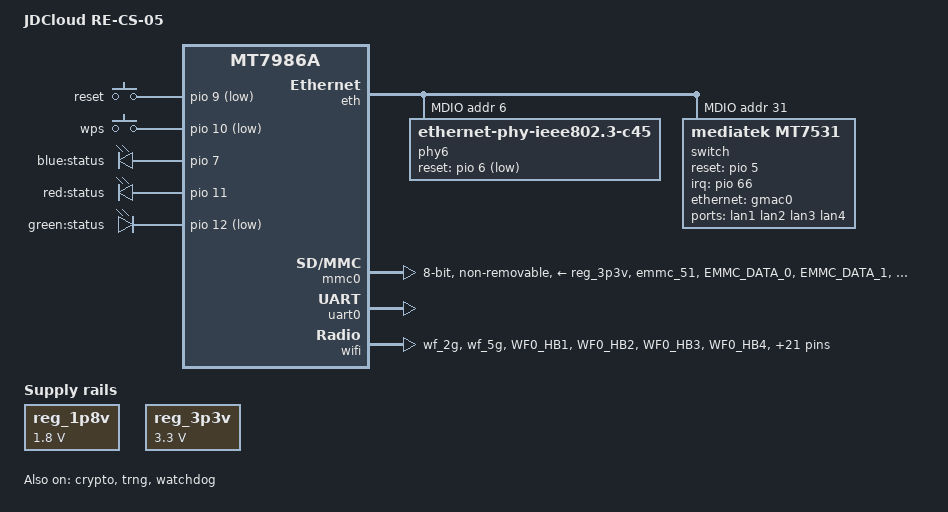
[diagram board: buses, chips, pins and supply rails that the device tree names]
// SPDX-License-Identifier: GPL-2.0-or-later OR MIT

/dts-v1/;
#include <dt-bindings/gpio/gpio.h>
#include <dt-bindings/input/input.h>

#include "mt7986a.dtsi"

/ {
	model = "JDCloud RE-CS-05";
	compatible = "jdcloud,re-cs-05", "mediatek,mt7986a";

	aliases {
		serial0 = &uart0;
		led-boot = &led_status_green;
		led-failsafe = &led_status_red;
		led-running = &led_status_blue;
		led-upgrade = &led_status_red;
	};

	chosen {
		stdout-path = "serial0:115200n8";
		bootargs = "console=ttyS0,115200n8 root=PARTLABEL=rootfs rootwait";
	};

	keys {
		compatible = "gpio-keys";

		reset {
			label = "reset";
			linux,code = <KEY_RESTART>;
			gpios = <&pio 9 GPIO_ACTIVE_LOW>;
		};

		wps {
			label = "wps";
			linux,code = <KEY_WPS_BUTTON>;
			gpios = <&pio 10 GPIO_ACTIVE_LOW>;
		};
	};

	leds {
		compatible = "gpio-leds";

		led_status_blue: blue {
			label = "blue:status";
			gpios = <&pio 7 GPIO_ACTIVE_HIGH>;
		};

		led_status_red: red {
			label = "red:status";
			gpios = <&pio 11 GPIO_ACTIVE_HIGH>;
		};

		led_status_green: green {
			label = "green:status";
			gpios = <&pio 12 GPIO_ACTIVE_LOW>;
		};
	};

	reg_1p8v: regulator-1p8v {
		compatible = "regulator-fixed";
		regulator-name = "fixed-1.8V";
		regulator-min-microvolt = <1800000>;
		regulator-max-microvolt = <1800000>;
		regulator-boot-on;
		regulator-always-on;
	};

	reg_3p3v: regulator-3p3v {
		compatible = "regulator-fixed";
		regulator-name = "fixed-3.3V";
		regulator-min-microvolt = <3300000>;
		regulator-max-microvolt = <3300000>;
		regulator-boot-on;
		regulator-always-on;
	};
};

&crypto {
	status = "okay";
};

&eth {
	status = "okay";

	gmac0: mac@0 {
		compatible = "mediatek,eth-mac";
		reg = <0>;
		phy-mode = "2500base-x";

		fixed-link {
			speed = <2500>;
			full-duplex;
			pause;
		};
	};

	gmac1: mac@1 {
		compatible = "mediatek,eth-mac";
		reg = <1>;
		phy-handle = <&phy6>;
		phy-mode = "2500base-x";
	};

	mdio: mdio-bus {
		#address-cells = <1>;
		#size-cells = <0>;
	};
};

&mdio {
	phy6: ethernet-phy@6 {
		compatible = "ethernet-phy-ieee802.3-c45";
		reg = <6>;
		reset-assert-us = <100000>;
		reset-deassert-us = <100000>;
		reset-gpios = <&pio 6 GPIO_ACTIVE_LOW>;
		realtek,aldps-enable;
	};

	switch: switch@0 {
		compatible = "mediatek,mt7531";
		reg = <31>;
		reset-gpios = <&pio 5 GPIO_ACTIVE_HIGH>;
		interrupt-controller;
		#interrupt-cells = <1>;
		interrupt-parent = <&pio>;
		interrupts = <66 IRQ_TYPE_LEVEL_HIGH>;
	};
};

&switch {
	ports {
		#address-cells = <1>;
		#size-cells = <0>;

		port@1 {
			reg = <1>;
			label = "lan1";
		};

		port@2 {
			reg = <2>;
			label = "lan2";
		};

		port@3 {
			reg = <3>;
			label = "lan3";
		};

		port@4 {
			reg = <4>;
			label = "lan4";
		};

		port@6 {
			reg = <6>;
			ethernet = <&gmac0>;
			phy-mode = "2500base-x";

			fixed-link {
				speed = <2500>;
				full-duplex;
				pause;
			};
		};
	};
};

&mmc0 {
	pinctrl-names = "default", "state_uhs";
	pinctrl-0 = <&mmc0_pins_default>;
	pinctrl-1 = <&mmc0_pins_uhs>;
	bus-width = <8>;
	cap-mmc-highspeed;
	hs400-ds-delay = <0x14014>;
	max-frequency = <200000000>;
	mmc-hs200-1_8v;
	mmc-hs400-1_8v;
	non-removable;
	vmmc-supply = <&reg_3p3v>;
	vqmmc-supply = <&reg_1p8v>;
	status = "okay";
};

&pio {
	mmc0_pins_default: mmc0-pins {
		mux {
			function = "emmc";
			groups = "emmc_51";
		};
		conf-cmd-dat {
			pins = "EMMC_DATA_0", "EMMC_DATA_1", "EMMC_DATA_2",
			       "EMMC_DATA_3", "EMMC_DATA_4", "EMMC_DATA_5",
			       "EMMC_DATA_6", "EMMC_DATA_7", "EMMC_CMD";
			input-enable;
			drive-strength = <4>;
			mediatek,pull-up-adv = <1>;	/* pull-up 10K */
		};
		conf-clk {
			pins = "EMMC_CK";
			drive-strength = <6>;
			mediatek,pull-down-adv = <2>;	/* pull-down 50K */
		};
		conf-ds {
			pins = "EMMC_DSL";
			mediatek,pull-down-adv = <2>;	/* pull-down 50K */
		};
		conf-rst {
			pins = "EMMC_RSTB";
			drive-strength = <4>;
			mediatek,pull-up-adv = <1>;	/* pull-up 10K */
		};
	};

	mmc0_pins_uhs: mmc0-uhs-pins {
		mux {
			function = "emmc";
			groups = "emmc_51";
		};
		conf-cmd-dat {
			pins = "EMMC_DATA_0", "EMMC_DATA_1", "EMMC_DATA_2",
			       "EMMC_DATA_3", "EMMC_DATA_4", "EMMC_DATA_5",
			       "EMMC_DATA_6", "EMMC_DATA_7", "EMMC_CMD";
			input-enable;
			drive-strength = <4>;
			mediatek,pull-up-adv = <1>;	/* pull-up 10K */
		};
		conf-clk {
			pins = "EMMC_CK";
			drive-strength = <6>;
			mediatek,pull-down-adv = <2>;	/* pull-down 50K */
		};
		conf-ds {
			pins = "EMMC_DSL";
			mediatek,pull-down-adv = <2>;	/* pull-down 50K */
		};
		conf-rst {
			pins = "EMMC_RSTB";
			drive-strength = <4>;
			mediatek,pull-up-adv = <1>;	/* pull-up 10K */
		};
	};

	wf_2g_5g_pins: wf_2g_5g-pins {
		mux {
			function = "wifi";
			groups = "wf_2g", "wf_5g";
		};
		conf {
			pins = "WF0_HB1", "WF0_HB2", "WF0_HB3", "WF0_HB4",
			       "WF0_HB0", "WF0_HB0_B", "WF0_HB5", "WF0_HB6",
			       "WF0_HB7", "WF0_HB8", "WF0_HB9", "WF0_HB10",
			       "WF0_TOP_CLK", "WF0_TOP_DATA", "WF1_HB1",
			       "WF1_HB2", "WF1_HB3", "WF1_HB4", "WF1_HB0",
			       "WF1_HB5", "WF1_HB6", "WF1_HB7", "WF1_HB8",
			       "WF1_TOP_CLK", "WF1_TOP_DATA";
			drive-strength = <4>;
		};
	};
};

&trng {
	status = "okay";
};

&uart0 {
	status = "okay";
};

&watchdog {
	status = "okay";
};

&wifi {
	status = "okay";
	pinctrl-names = "default";
	pinctrl-0 = <&wf_2g_5g_pins>;
};
